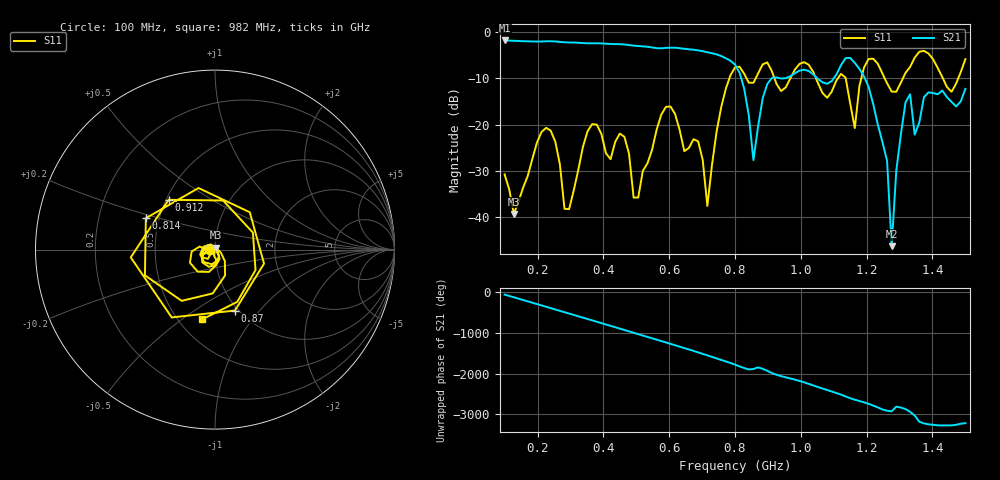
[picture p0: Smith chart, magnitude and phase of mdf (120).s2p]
! NanoVNA-App
! Date: 2025-09-25 17:41:54
! Start: 100MHz Stop: 1,5GHz Points: 101
! S-Parameter data: F S11 S21 S12 S22
# Hz S RI R 50
!  Frequency  S11_Real  S11_Imag  S21_Real  S21_Imag  S12_Real  S12_Imag  S22_Real  S22_Imag
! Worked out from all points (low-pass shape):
!   101 points, 100 MHz to 1.5 GHz, reference 50 ohm
!   highest |S21| = -1.80 dB at 100 MHz (marker M1); lowest = -46.2 dB at 1.276 GHz (marker M2)
!   |S21| within 3 dB of the highest: start of sweep to 743.8 MHz
!   lowest |S11| = -39.2 dB at 128 MHz (marker M3), VSWR 1.02, Z = 50.3 + j1.05 ohm
!   |S11| at or under -10 dB: start of sweep to 782.9 MHz; 1.046 GHz to 1.112 GHz (66.2 MHz wide, 6.13 % of centre); 1.255 GHz to 1.31 GHz (54.92 MHz wide, 4.28 % of centre)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
!   S12 and S22 are empty: the file has one direction only
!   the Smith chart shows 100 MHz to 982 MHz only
!   S11 on the Smith chart (normalised r, x): 100 MHz: 0.94, -0.01; 814 MHz: 0.42, +0.18; 870 MHz: 0.96, -0.75; 912 MHz: 0.52, +0.33; 982 MHz: 0.65, -0.60
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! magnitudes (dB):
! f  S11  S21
! 100 MHz  -30.7  -1.8
! 128 MHz  -39.2  -1.9
! 212 MHz  -21.6  -2.0
! 282 MHz  -38.1  -2.2
! 338 MHz  -24.7  -2.4
! 464 MHz  -22.6  -2.7
! 506 MHz  -35.7  -3.0
! 576 MHz  -17.8  -3.5
! 716 MHz  -37.5  -4.4
! 800 MHz  -7.6  -7.0
! 814 MHz  -7.5  -8.8
! 856 MHz  -10.9  -27.6
! 870 MHz  -8.9  -20.4
! 912 MHz  -8.4  -9.9
! 982 MHz  -8.1  -8.9
! 1.038 GHz  -8.6  -9.2
! 1.164 GHz  -20.7  -6.6
! 1.192 GHz  -7.6  -9.6
! 1.262 GHz  -11.0  -27.8
! 1.276 GHz  -12.8  -46.2
! 1.318 GHz  -8.8  -15.2
! 1.5 GHz  -5.8  -12.3
